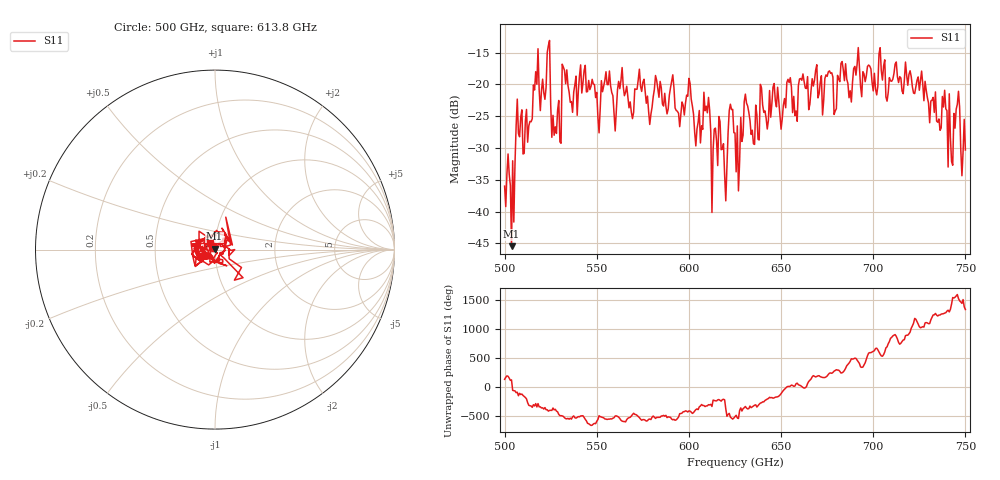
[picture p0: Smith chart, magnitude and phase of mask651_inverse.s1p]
!Created with skrf (http://scikit-rf.org).
# GHz S MA R 50.0
!freq magS11 angS11
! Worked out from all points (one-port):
!   401 points, 500 GHz to 750 GHz, reference 50 ohm
!   lowest |S11| = -45.4 dB at 503.8 GHz (marker M1), VSWR 1.01, Z = 49.7 + j0.458 ohm
!   |S11| at or under -10 dB: start of sweep to end of sweep
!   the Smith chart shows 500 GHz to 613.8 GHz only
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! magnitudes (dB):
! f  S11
! 500 GHz  -36.0
! 503.8 GHz  -45.4
! 507.5 GHz  -27.7
! 513.8 GHz  -25.8
! 516.9 GHz  -18.0
! 523.8 GHz  -13.9
! 526.9 GHz  -28.0
! 531.2 GHz  -16.8
! 532.5 GHz  -17.8
! 550.6 GHz  -25.2
! 562.5 GHz  -20.7
! 568.8 GHz  -24.3
! 590.6 GHz  -19.5
! 593.8 GHz  -24.2
! 609.4 GHz  -23.4
! 619.4 GHz  -34.2
! 622.5 GHz  -23.1
! 625 GHz  -27.7
! 656.2 GHz  -24.5
! 683.8 GHz  -17.7
! 687.5 GHz  -21.0
! 691.2 GHz  -16.9
! 718.8 GHz  -20.1
! 735.6 GHz  -25.4
! 738.8 GHz  -20.9
! 741.9 GHz  -28.4
! 745.6 GHz  -23.1
! 750 GHz  -30.3
